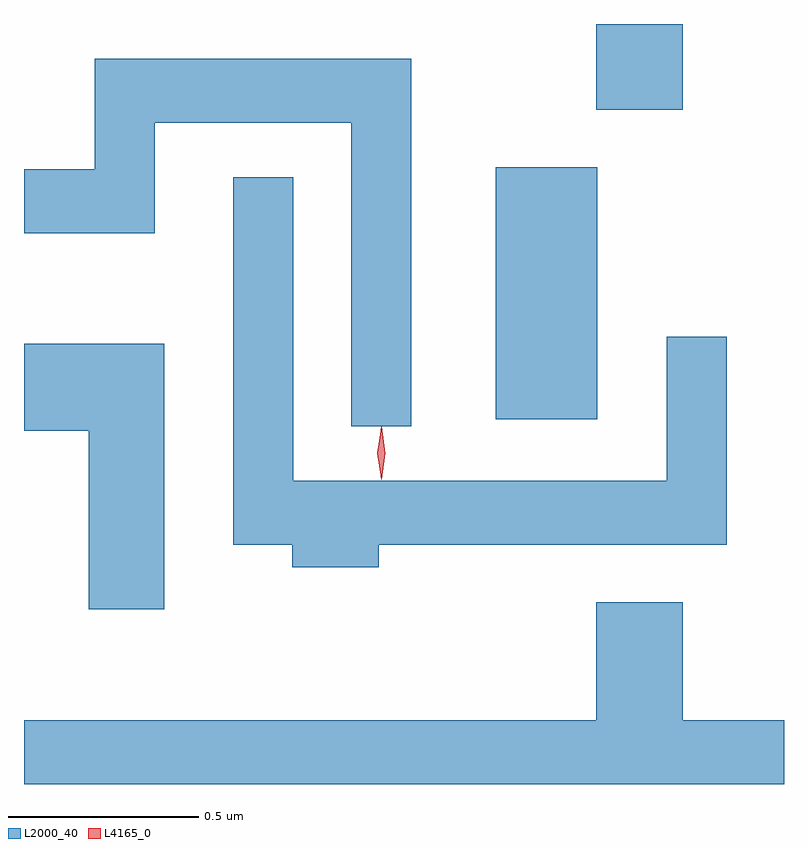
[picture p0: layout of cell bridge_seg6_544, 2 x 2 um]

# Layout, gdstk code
import gdstk
lib = gdstk.Library(unit=1e-6, precision=1e-09)
def R(c, l, rs):  # rectangles x0, y0, x1, y1
    for r in rs: c.add(gdstk.rectangle(r[:2], r[2:], *l))
def P(c, l, *ps):  # polygons
    for p in ps: c.add(gdstk.Polygon(p, *l))
L2000_40 = (2000, 40)
L4165_0 = (4165, 0)

bridge_seg6_544 = lib.new_cell('bridge_seg6_544')
R(bridge_seg6_544, L2000_40, [(545.666,1650.996,545.934,1651.659), (545.931,1651.811,546.159,1652.036)])
P(bridge_seg6_544, L2000_40, [(545.444,1651.944),(544.611,1651.944),(544.611,1651.654),(544.425,1651.654),(544.425,1651.486),(544.769,1651.486),(544.769,1651.776),(545.286,1651.776),(545.286,1650.978),(545.444,1650.978)],
  [(545.359,1650.666),(546.274,1650.666),(546.274,1651.213),(546.116,1651.213),(546.116,1650.834),(545.134,1650.834),(545.134,1651.633),(544.976,1651.633),(544.976,1650.666),(545.131,1650.666),(545.131,1650.606),(545.359,1650.606)],
  [(544.794,1651.194),(544.425,1651.194),(544.425,1650.966),(544.596,1650.966),(544.596,1650.496),(544.794,1650.496)],
  [(546.425,1650.204),(546.159,1650.204),(546.159,1650.514),(545.931,1650.514),(545.931,1650.204),(544.425,1650.204),(544.425,1650.036),(546.425,1650.036)])
P(bridge_seg6_544, L4165_0, [(545.365,1650.839),(545.365,1650.84),(545.355,1650.906),(545.365,1650.972),(545.365,1650.973),(545.366,1650.972),(545.375,1650.906),(545.366,1650.84)],
  [(545.365,1650.837),(545.365,1650.838),(545.356,1650.907),(545.365,1650.976),(545.365,1650.976),(545.366,1650.976),(545.375,1650.907),(545.366,1650.838)])

lib.write_gds('bridge_seg6_544.gds')
